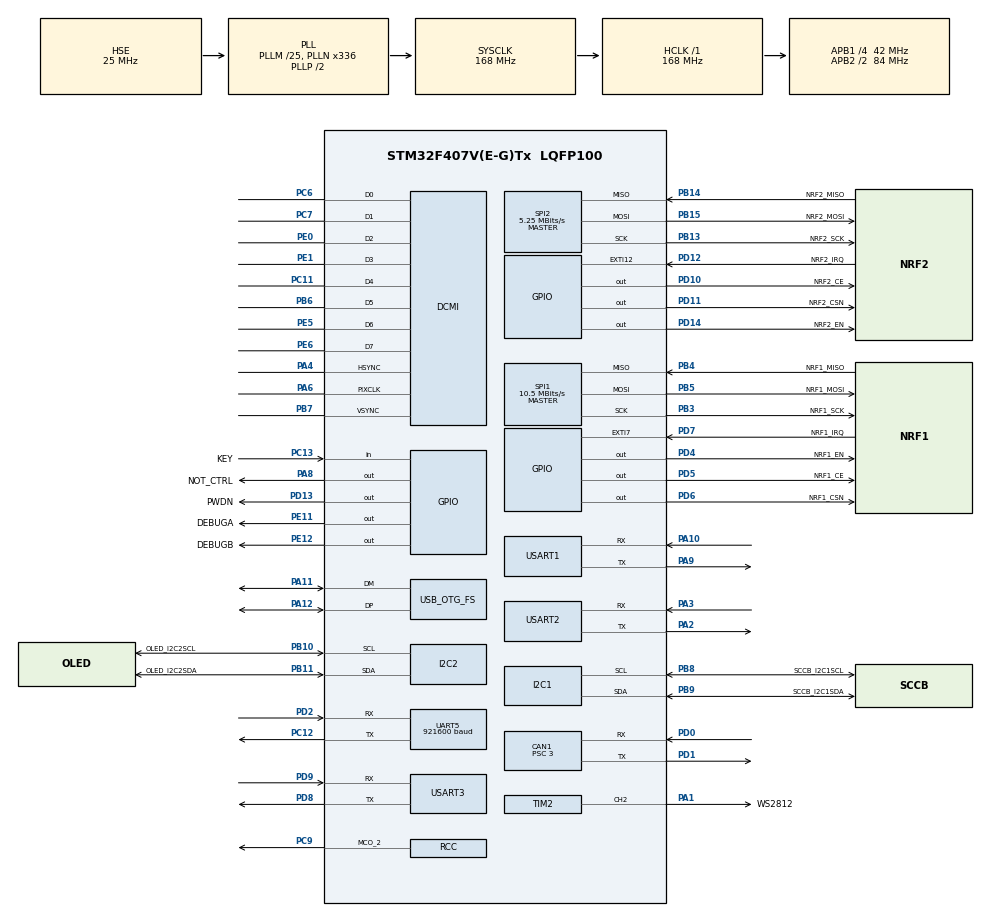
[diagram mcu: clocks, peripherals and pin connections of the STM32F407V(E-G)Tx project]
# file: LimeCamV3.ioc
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ADC1.Channel-0\#ChannelRegularConversion=ADC_CHANNEL_TEMPSENSOR
ADC1.NbrOfConversionFlag=1
ADC1.Rank-0\#ChannelRegularConversion=1
ADC1.SamplingTime-0\#ChannelRegularConversion=ADC_SAMPLETIME_3CYCLES
ADC1.master=1
CAN1.BS1=CAN_BS1_8TQ
CAN1.BS2=CAN_BS2_5TQ
CAN1.CalculateBaudRate=1000000
CAN1.CalculateTimeBit=1000
CAN1.CalculateTimeQuantum=71.42857142857143
CAN1.Prescaler=3
CAN1.SJW=CAN_SJW_1TQ
DCMI.JPEGMode=DCMI_JPEG_ENABLE
DCMI.PCKPolarity=DCMI_PCKPOLARITY_RISING
Dma.DCMI.1.Direction=DMA_PERIPH_TO_MEMORY
Dma.DCMI.1.FIFOMode=DMA_FIFOMODE_DISABLE
Dma.DCMI.1.Instance=DMA2_Stream7
Dma.DCMI.1.MemDataAlignment=DMA_MDATAALIGN_WORD
Dma.DCMI.1.MemInc=DMA_MINC_ENABLE
Dma.DCMI.1.Mode=DMA_NORMAL
Dma.DCMI.1.PeriphDataAlignment=DMA_PDATAALIGN_WORD
Dma.DCMI.1.PeriphInc=DMA_PINC_DISABLE
Dma.DCMI.1.Priority=DMA_PRIORITY_VERY_HIGH
Dma.Request0=TIM2_CH2/CH4
Dma.Request1=DCMI
Dma.Request2=SPI1_TX
Dma.Request3=SPI1_RX
Dma.SPI1_RX.3.Direction=DMA_PERIPH_TO_MEMORY
Dma.SPI1_RX.3.FIFOMode=DMA_FIFOMODE_DISABLE
Dma.SPI1_RX.3.Instance=DMA2_Stream0
Dma.SPI1_RX.3.MemDataAlignment=DMA_MDATAALIGN_BYTE
Dma.SPI1_RX.3.MemInc=DMA_MINC_ENABLE
Dma.SPI1_RX.3.Mode=DMA_NORMAL
Dma.SPI1_RX.3.PeriphDataAlignment=DMA_PDATAALIGN_BYTE
Dma.SPI1_RX.3.PeriphInc=DMA_PINC_DISABLE
Dma.SPI1_RX.3.Priority=DMA_PRIORITY_LOW
Dma.SPI1_TX.2.Direction=DMA_MEMORY_TO_PERIPH
Dma.SPI1_TX.2.FIFOMode=DMA_FIFOMODE_DISABLE
Dma.SPI1_TX.2.Instance=DMA2_Stream3
Dma.SPI1_TX.2.MemDataAlignment=DMA_MDATAALIGN_BYTE
Dma.SPI1_TX.2.MemInc=DMA_MINC_ENABLE
Dma.SPI1_TX.2.Mode=DMA_NORMAL
Dma.SPI1_TX.2.PeriphDataAlignment=DMA_PDATAALIGN_BYTE
Dma.SPI1_TX.2.PeriphInc=DMA_PINC_DISABLE
Dma.SPI1_TX.2.Priority=DMA_PRIORITY_LOW
Dma.TIM2_CH2/CH4.0.Direction=DMA_MEMORY_TO_PERIPH
Dma.TIM2_CH2/CH4.0.FIFOMode=DMA_FIFOMODE_DISABLE
Dma.TIM2_CH2/CH4.0.Instance=DMA1_Stream6
Dma.TIM2_CH2/CH4.0.MemDataAlignment=DMA_MDATAALIGN_WORD
Dma.TIM2_CH2/CH4.0.MemInc=DMA_MINC_ENABLE
Dma.TIM2_CH2/CH4.0.Mode=DMA_CIRCULAR
Dma.TIM2_CH2/CH4.0.PeriphDataAlignment=DMA_PDATAALIGN_WORD
Dma.TIM2_CH2/CH4.0.PeriphInc=DMA_PINC_DISABLE
Dma.TIM2_CH2/CH4.0.Priority=DMA_PRIORITY_LOW
FREERTOS.INCLUDE_vTaskSuspend=1
FREERTOS.INCLUDE_xTaskGetHandle=1
FREERTOS.Tasks01=nrfMessage,0,512,nrfMessage_main,As weak,NULL,Dynamic,NULL,NULL;nrfPhoto,0,256,nrfPhoto_main,As weak,NULL,Dynamic,NULL,NULL;bspUI,-2,256,bspUI_main,As weak,NULL,Dynamic,NULL,NULL
FREERTOS.configENABLE_FPU=0
I2C2.I2C_Mode=I2C_Fast
Mcu.Family=STM32F4
Mcu.Name=STM32F407V(E-G)Tx
Mcu.Package=LQFP100
NVIC.CAN1_RX0_IRQn=true\:8\:0\:true\:false\:true\:true\:true\:true\:true
NVIC.DCMI_IRQn=true\:7\:0\:true\:false\:true\:true\:true\:true\:true
NVIC.DMA1_Stream6_IRQn=true\:14\:0\:true\:false\:true\:true\:false\:true\:true
NVIC.DMA2_Stream0_IRQn=true\:5\:0\:false\:false\:true\:true\:false\:true\:true
NVIC.DMA2_Stream3_IRQn=true\:5\:0\:false\:false\:true\:true\:false\:true\:true
NVIC.DMA2_Stream7_IRQn=true\:7\:0\:true\:false\:true\:true\:false\:true\:true
NVIC.EXTI15_10_IRQn=true\:6\:0\:true\:false\:true\:true\:true\:true\:true
NVIC.EXTI9_5_IRQn=true\:6\:0\:true\:false\:true\:true\:true\:true\:true
NVIC.OTG_FS_IRQn=true\:5\:0\:false\:false\:true\:true\:false\:true\:true
NVIC.PVD_IRQn=true\:5\:0\:true\:false\:true\:true\:true\:true\:true
NVIC.PriorityGroup=NVIC_PRIORITYGROUP_4
NVIC.SPI1_IRQn=true\:6\:0\:true\:false\:true\:true\:true\:true\:true
NVIC.TIM8_TRG_COM_TIM14_IRQn=true\:15\:0\:false\:false\:true\:false\:false\:true\:true
NVIC.TimeBase=TIM8_TRG_COM_TIM14_IRQn
NVIC.TimeBaseIP=TIM14
NVIC.USART3_IRQn=true\:10\:0\:true\:false\:true\:true\:true\:true\:true
PA1.GPIO_Label=WS2812
PA1.GPIO_Speed=GPIO_SPEED_FREQ_VERY_HIGH
PA1.Signal=S_TIM2_CH2
PA10.Mode=Asynchronous
PA10.Signal=USART1_RX
PA11.Mode=Device_Only
PA11.Signal=USB_OTG_FS_DM
PA12.Mode=Device_Only
PA12.Signal=USB_OTG_FS_DP
PA13.Mode=Serial_Wire
PA13.Signal=SYS_JTMS-SWDIO
PA14.Mode=Serial_Wire
PA14.Signal=SYS_JTCK-SWCLK
PA2.Mode=Asynchronous
PA2.Signal=USART2_TX
PA3.Mode=Asynchronous
PA3.Signal=USART2_RX
PA4.Mode=Slave_8_bits_External_Synchro
PA4.Signal=DCMI_HSYNC
PA6.Mode=Slave_8_bits_External_Synchro
PA6.Signal=DCMI_PIXCLK
PA8.GPIO_Label=NOT_CTRL
PA8.GPIO_PuPd=GPIO_NOPULL
PA8.GPIO_Speed=GPIO_SPEED_FREQ_VERY_HIGH
PA8.Signal=GPIO_Output
PA9.Mode=Asynchronous
PA9.Signal=USART1_TX
PB10.GPIO_Label=OLED_I2C2SCL
PB10.GPIO_Speed=GPIO_SPEED_FREQ_HIGH
PB10.Mode=I2C
PB10.Signal=I2C2_SCL
PB11.GPIO_Label=OLED_I2C2SDA
PB11.GPIO_Speed=GPIO_SPEED_FREQ_HIGH
PB11.Mode=I2C
PB11.Signal=I2C2_SDA
PB13.GPIO_Label=NRF2_SCK
PB13.Mode=Full_Duplex_Master
PB13.Signal=SPI2_SCK
PB14.GPIO_Label=NRF2_MISO
PB14.Mode=Full_Duplex_Master
PB14.Signal=SPI2_MISO
PB15.GPIO_Label=NRF2_MOSI
PB15.Mode=Full_Duplex_Master
PB15.Signal=SPI2_MOSI
PB3.GPIO_Label=NRF1_SCK
PB3.Mode=Full_Duplex_Master
PB3.Signal=SPI1_SCK
PB4.GPIO_Label=NRF1_MISO
PB4.Mode=Full_Duplex_Master
PB4.Signal=SPI1_MISO
PB5.GPIO_Label=NRF1_MOSI
PB5.Mode=Full_Duplex_Master
PB5.Signal=SPI1_MOSI
PB6.GPIO_PuPd=GPIO_PULLDOWN
PB6.Mode=Slave_8_bits_External_Synchro
PB6.Signal=DCMI_D5
PB7.Mode=Slave_8_bits_External_Synchro
PB7.Signal=DCMI_VSYNC
PB8.GPIO_Label=SCCB_I2C1SCL
PB8.Mode=I2C
PB8.Signal=I2C1_SCL
PB9.GPIO_Label=SCCB_I2C1SDA
PB9.GPIO_Pu=GPIO_NOPULL
PB9.Mode=I2C
PB9.Signal=I2C1_SDA
PC11.GPIO_PuPd=GPIO_PULLDOWN
PC11.Mode=Slave_8_bits_External_Synchro
PC11.Signal=DCMI_D4
PC12.Mode=Asynchronous
PC12.Signal=UART5_TX
PC13-ANTI_TAMP.GPIO_Label=KEY
PC13-ANTI_TAMP.GPIO_PuPd=GPIO_PULLUP
PC13-ANTI_TAMP.Signal=GPIO_Input
PC6.GPIO_PuPd=GPIO_PULLDOWN
PC6.Mode=Slave_8_bits_External_Synchro
PC6.Signal=DCMI_D0
PC7.GPIO_PuPd=GPIO_PULLDOWN
PC7.Mode=Slave_8_bits_External_Synchro
PC7.Signal=DCMI_D1
PC9.GPIO_Speed=GPIO_SPEED_FREQ_VERY_HIGH
PC9.Mode=Clock-out-2
PC9.Signal=RCC_MCO_2
PD0.Mode=CAN_Activate
PD0.Signal=CAN1_RX
PD1.Mode=CAN_Activate
PD1.Signal=CAN1_TX
PD10.GPIO_Label=NRF2_CE
PD10.Signal=GPIO_Output
PD11.GPIO_Label=NRF2_CSN
PD11.Signal=GPIO_Output
PD12.GPIO_Label=NRF2_IRQ
PD12.GPIO_ModeDefaultEXTI=GPIO_MODE_IT_FALLING
PD12.GPIO_PuPd=GPIO_PULLUP
PD12.Signal=GPXTI12
PD13.GPIO_Label=PWDN
PD13.GPIO_Speed=GPIO_SPEED_FREQ_VERY_HIGH
PD13.PinState=GPIO_PIN_SET
PD13.Signal=GPIO_Output
PD14.GPIO_Label=NRF2_EN
PD14.Signal=GPIO_Output
PD2.Mode=Asynchronous
PD2.Signal=UART5_RX
PD4.GPIO_Label=NRF1_EN
PD4.PinState=GPIO_PIN_SET
PD4.Signal=GPIO_Output
PD5.GPIO_Label=NRF1_CE
PD5.Signal=GPIO_Output
PD6.GPIO_Label=NRF1_CSN
PD6.PinState=GPIO_PIN_SET
PD6.Signal=GPIO_Output
PD7.GPIO_Label=NRF1_IRQ
PD7.GPIO_ModeDefaultEXTI=GPIO_MODE_IT_FALLING
PD7.GPIO_PuPd=GPIO_PULLUP
PD7.Signal=GPXTI7
PD8.Mode=Asynchronous
PD8.Signal=USART3_TX
PD9.Mode=Asynchronous
PD9.Signal=USART3_RX
PE0.GPIO_PuPd=GPIO_PULLDOWN
PE0.Mode=Slave_8_bits_External_Synchro
PE0.Signal=DCMI_D2
PE1.GPIO_PuPd=GPIO_PULLDOWN
PE1.Mode=Slave_8_bits_External_Synchro
PE1.Signal=DCMI_D3
PE11.GPIO_Label=DEBUGA
PE11.Signal=GPIO_Output
PE12.GPIO_Label=DEBUGB
PE12.Signal=GPIO_Output
PE5.GPIO_PuPd=GPIO_PULLDOWN
PE5.Mode=Slave_8_bits_External_Synchro
PE5.Signal=DCMI_D6
PE6.GPIO_PuPd=GPIO_PULLDOWN
PE6.Mode=Slave_8_bits_External_Synchro
PE6.Signal=DCMI_D7
PH0-OSC_IN.Mode=HSE-External-Oscillator
PH0-OSC_IN.Signal=RCC_OSC_IN
PH1-OSC_OUT.Mode=HSE-External-Oscillator
PH1-OSC_OUT.Signal=RCC_OSC_OUT
ProjectManager.HeapSize=0x400
ProjectManager.StackSize=0x1000
ProjectManager.TargetToolchain=MDK-ARM V5.32
RCC.48MHZClocksFreq_Value=48000000
RCC.AHBFreq_Value=168000000
RCC.APB1CLKDivider=RCC_HCLK_DIV4
RCC.APB1Freq_Value=42000000
RCC.APB1TimFreq_Value=84000000
RCC.APB2CLKDivider=RCC_HCLK_DIV2
RCC.APB2Freq_Value=84000000
RCC.APB2TimFreq_Value=168000000
RCC.CortexFreq_Value=168000000
RCC.HCLKFreq_Value=168000000
RCC.HSE_VALUE=25000000
RCC.HSI_VALUE=16000000
RCC.LSE_VALUE=32768
RCC.PLLI2SN=100
RCC.PLLI2SR=6
RCC.PLLM=25
RCC.PLLN=336
RCC.PLLQ=7
RCC.RCC_MCO2Source=RCC_MCO2SOURCE_HSE
RCC.SYSCLKFreq_VALUE=168000000
RCC.SYSCLKSource=RCC_SYSCLKSOURCE_PLLCLK
RCC.VCOOutputFreq_Value=336000000
SH.S_TIM2_CH2.0=TIM2_CH2,PWM Generation2 CH2
SPI1.BaudRatePrescaler=SPI_BAUDRATEPRESCALER_8
SPI1.CLKPolarity=SPI_POLARITY_LOW
SPI1.CalculateBaudRate=10.5 MBits/s
SPI1.Direction=SPI_DIRECTION_2LINES
SPI1.Mode=SPI_MODE_MASTER
SPI1.VirtualType=VM_MASTER
SPI2.BaudRatePrescaler=SPI_BAUDRATEPRESCALER_8
SPI2.CalculateBaudRate=5.25 MBits/s
SPI2.Direction=SPI_DIRECTION_2LINES
SPI2.Mode=SPI_MODE_MASTER
SPI2.VirtualType=VM_MASTER
TIM2.AutoReloadPreload=TIM_AUTORELOAD_PRELOAD_ENABLE
TIM2.Channel-PWM\ Generation2\ CH2=TIM_CHANNEL_2
TIM2.OCMode_PWM-PWM\ Generation2\ CH2=TIM_OCMODE_PWM1
TIM2.OCPolarity_2=TIM_OCPOLARITY_HIGH
TIM2.Period=84-1
TIM2.Prescaler=1-1
TIM2.Pulse-PWM\ Generation2\ CH2=0
TIM2.TIM_MasterSlaveMode=TIM_MASTERSLAVEMODE_ENABLE
UART5.BaudRate=921600
UART5.VirtualMode=Asynchronous
USART1.VirtualMode=VM_ASYNC
USART2.VirtualMode=VM_ASYNC
USART3.VirtualMode=VM_ASYNC
USB_DEVICE.CLASS_NAME_FS=CDC
USB_DEVICE.VirtualMode-CDC_FS=Cdc
USB_DEVICE.VirtualModeFS=Cdc_FS
USB_OTG_FS.VirtualMode=Device_Only
VP_ADC1_TempSens_Input.Mode=IN-TempSens
VP_FREERTOS_VS_CMSIS_V1.Mode=CMSIS_V1
VP_RNG_VS_RNG.Mode=RNG_Activate
VP_SYS_VS_tim14.Mode=TIM14
VP_TIM2_VS_ClockSourceINT.Mode=Internal
VP_USB_DEVICE_VS_USB_DEVICE_CDC_FS.Mode=CDC_FS
board=custom

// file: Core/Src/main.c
/* USER CODE BEGIN Header */
/**
  ******************************************************************************
  * @file           : main.c
  * @brief          : Main program body
  ******************************************************************************
  * @attention
  *
  * Copyright (c) 2025 STMicroelectronics.
  * All rights reserved.
  *
  * This software is licensed under terms that can be found in the LICENSE file
  * in the root directory of this software component.
  * If no LICENSE file comes with this software, it is provided AS-IS.
  *
  ******************************************************************************
  */
/* USER CODE END Header */
#include "main.h"
#include "cmsis_os.h"
#include "adc.h"
#include "can.h"
#include "dcmi.h"
#include "dma.h"
#include "i2c.h"
#include "rng.h"
#include "spi.h"
#include "tim.h"
#include "usart.h"
#include "usb_device.h"
#include "gpio.h"

/* USER CODE BEGIN Includes */

#include "stdio.h"
#include "Lime_sccb.h"
#include "Lime_ov2640.h"
#include "Lime_nrf_video.h"

#include "Lime_vofaConn.h"

#include "Lime_nrf_slave_ports.h"
#include "Lime_nrf_slave.h"
#include "Lime_flash.h"
/* USER CODE END Includes */

void SystemClock_Config(void);
void MX_FREERTOS_Init(void);

int main(void)
{

  /* MCU Configuration--------------------------------------------------------*/

  /* Reset of all peripherals, Initializes the Flash interface and the Systick. */
  HAL_Init();

  /* Configure the system clock */
  SystemClock_Config();

  /* Initialize all configured peripherals */
  MX_GPIO_Init();
  MX_DMA_Init();
  MX_CAN1_Init();
  MX_USART1_UART_Init();
  MX_USART2_UART_Init();
  MX_DCMI_Init();
  MX_I2C1_Init();
  MX_I2C2_Init();
  MX_ADC1_Init();
  MX_SPI1_Init();
  MX_SPI2_Init();
  MX_USART3_UART_Init();
  MX_TIM2_Init();
  MX_UART5_Init();
  MX_RNG_Init();
  /* USER CODE BEGIN 2 */
#if LIME_DEBUG
	//disable Flash Param, Every time it powers on, it is in pairing mode.
	printf("\n\n\nLimeCamV3.1-Debug\n");
#else
	//Release mode
	printf("\n\n\nLimeCamV3.1-Release\n");
#endif
	printf("CompileTime:%s, %s\n", __DATE__, __TIME__);

  /* USER CODE END 2 */

  /* Call init function for freertos objects (in cmsis_os2.c) */
  MX_FREERTOS_Init();

  /* Start scheduler */
  osKernelStart();

  /* We should never get here as control is now taken by the scheduler */

  /* Infinite loop */
  while (1)
  {

  }
}

void SystemClock_Config(void)
{
  RCC_OscInitTypeDef RCC_OscInitStruct = {0};
  RCC_ClkInitTypeDef RCC_ClkInitStruct = {0};

  /** Configure the main internal regulator output voltage
  */
  __HAL_RCC_PWR_CLK_ENABLE();
  __HAL_PWR_VOLTAGESCALING_CONFIG(PWR_REGULATOR_VOLTAGE_SCALE1);

  /** Initializes the RCC Oscillators according to the specified parameters
  * in the RCC_OscInitTypeDef structure.
  */
  RCC_OscInitStruct.OscillatorType = RCC_OSCILLATORTYPE_HSE;
  RCC_OscInitStruct.HSEState = RCC_HSE_ON;
  RCC_OscInitStruct.PLL.PLLState = RCC_PLL_ON;
  RCC_OscInitStruct.PLL.PLLSource = RCC_PLLSOURCE_HSE;
  RCC_OscInitStruct.PLL.PLLM = 25;
  RCC_OscInitStruct.PLL.PLLN = 336;
  RCC_OscInitStruct.PLL.PLLP = RCC_PLLP_DIV2;
  RCC_OscInitStruct.PLL.PLLQ = 7;
  if (HAL_RCC_OscConfig(&RCC_OscInitStruct) != HAL_OK)
  {
    Error_Handler();
  }

  /** Initializes the CPU, AHB and APB buses clocks
  */
  RCC_ClkInitStruct.ClockType = RCC_CLOCKTYPE_HCLK|RCC_CLOCKTYPE_SYSCLK
                              |RCC_CLOCKTYPE_PCLK1|RCC_CLOCKTYPE_PCLK2;
  RCC_ClkInitStruct.SYSCLKSource = RCC_SYSCLKSOURCE_PLLCLK;
  RCC_ClkInitStruct.AHBCLKDivider = RCC_SYSCLK_DIV1;
  RCC_ClkInitStruct.APB1CLKDivider = RCC_HCLK_DIV4;
  RCC_ClkInitStruct.APB2CLKDivider = RCC_HCLK_DIV2;

  if (HAL_RCC_ClockConfig(&RCC_ClkInitStruct, FLASH_LATENCY_5) != HAL_OK)
  {
    Error_Handler();
  }
  HAL_RCC_MCOConfig(RCC_MCO2, RCC_MCO2SOURCE_HSE, RCC_MCODIV_1);
}

void HAL_TIM_PeriodElapsedCallback(TIM_HandleTypeDef *htim)
{
  if (htim->Instance == TIM14) {
    HAL_IncTick();
  }
}

void Error_Handler(void)
{
  /* USER CODE BEGIN Error_Handler_Debug */
	printf("main Error Handler Occurred\n");
  /* User can add his own implementation to report the HAL error return state */
  __disable_irq();
  while (1)
  {
  }
  /* USER CODE END Error_Handler_Debug */
}

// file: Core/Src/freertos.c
/* USER CODE BEGIN Header */
/**
  ******************************************************************************
  * File Name          : freertos.c
  * Description        : Code for freertos applications
  ******************************************************************************
  * @attention
  *
  * Copyright (c) 2025 STMicroelectronics.
  * All rights reserved.
  *
  * This software is licensed under terms that can be found in the LICENSE file
  * in the root directory of this software component.
  * If no LICENSE file comes with this software, it is provided AS-IS.
  *
  ******************************************************************************
  */
/* USER CODE END Header */

#include "FreeRTOS.h"
#include "task.h"
#include "main.h"
#include "cmsis_os.h"

osThreadId nrfMessageHandle;
osThreadId nrfPhotoHandle;
osThreadId bspUIHandle;

void nrfMessage_main(void const * argument);
void nrfPhoto_main(void const * argument);
void bspUI_main(void const * argument);

extern void MX_USB_DEVICE_Init(void);
void MX_FREERTOS_Init(void); /* (MISRA C 2004 rule 8.1) */

/* GetIdleTaskMemory prototype (linked to static allocation support) */
void vApplicationGetIdleTaskMemory( StaticTask_t **ppxIdleTaskTCBBuffer, StackType_t **ppxIdleTaskStackBuffer, uint32_t *pulIdleTaskStackSize );

/* USER CODE BEGIN GET_IDLE_TASK_MEMORY */
static StaticTask_t xIdleTaskTCBBuffer;
static StackType_t xIdleStack[configMINIMAL_STACK_SIZE];

void vApplicationGetIdleTaskMemory( StaticTask_t **ppxIdleTaskTCBBuffer, StackType_t **ppxIdleTaskStackBuffer, uint32_t *pulIdleTaskStackSize )
{
  *ppxIdleTaskTCBBuffer = &xIdleTaskTCBBuffer;
  *ppxIdleTaskStackBuffer = &xIdleStack[0];
  *pulIdleTaskStackSize = configMINIMAL_STACK_SIZE;
  /* place for user code */
}
/* USER CODE END GET_IDLE_TASK_MEMORY */

void MX_FREERTOS_Init(void) {

  /* Create the thread(s) */
  /* definition and creation of nrfMessage */
  osThreadDef(nrfMessage, nrfMessage_main, osPriorityNormal, 0, 512);
  nrfMessageHandle = osThreadCreate(osThread(nrfMessage), NULL);

  /* definition and creation of nrfPhoto */
  osThreadDef(nrfPhoto, nrfPhoto_main, osPriorityNormal, 0, 256);
  nrfPhotoHandle = osThreadCreate(osThread(nrfPhoto), NULL);

  /* definition and creation of bspUI */
  osThreadDef(bspUI, bspUI_main, osPriorityLow, 0, 256);
  bspUIHandle = osThreadCreate(osThread(bspUI), NULL);

}

__weak void nrfMessage_main(void const * argument)
{
  /* init code for USB_DEVICE */
  MX_USB_DEVICE_Init();
  for(;;)
  {
    osDelay(1);
  }
}

__weak void nrfPhoto_main(void const * argument)
{
  for(;;)
  {
    osDelay(1);
  }
}

__weak void bspUI_main(void const * argument)
{
  for(;;)
  {
    osDelay(1);
  }
}
